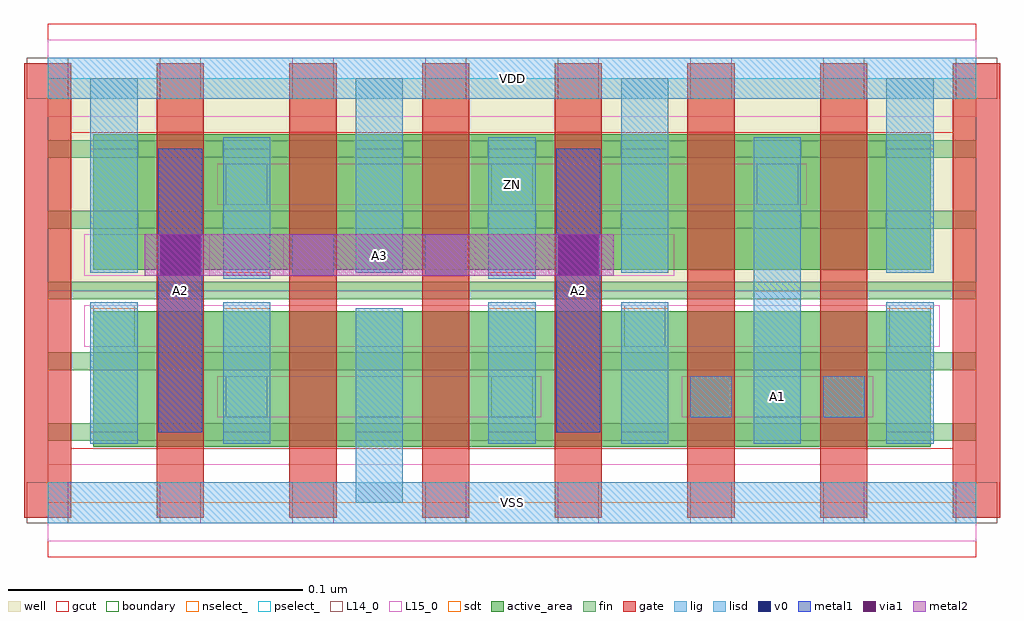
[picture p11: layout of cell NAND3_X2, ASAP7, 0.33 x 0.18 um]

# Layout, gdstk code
import gdstk
lib = gdstk.Library(unit=1e-6, precision=2.5e-10)
def R(c, l, rs):  # rectangles x0, y0, x1, y1
    for r in rs: c.add(gdstk.rectangle(r[:2], r[2:], *l))
def A(c, l, x, y, w, h, nx, ny, dx, dy):  # array of equal rectangles
    R(c, l, [(x+i*dx, y+j*dy, x+i*dx+w, y+j*dy+h) for i in range(nx) for j in range(ny)])
well = (1, 0)
fin = (2, 0)
gate = (7, 0)
gcut = (10, 0)
active_area = (11, 0)
nselect_ = (12, 0)
pselect_ = (13, 0)
L14_0 = (14, 0)
L15_0 = (15, 0)
lig = (16, 0)
lisd = (17, 0)
v0 = (18, 0)
metal1 = (19, 0)
metal2 = (20, 0)
via1 = (21, 0)
sdt = (88, 0)
boundary = (100, 0)

nand3_x2 = lib.new_cell('NAND3_X2')
R(nand3_x2, well, [(0,0.072,0.315,0.144)])
A(nand3_x2, fin, 0, 0.021, 0.315, 0.006, 1, 5, 0, 0.024)
A(nand3_x2, gate, -0.008, -0.005, 0.016, 0.154, 8, 1, 0.045, 0)
R(nand3_x2, gcut, [(0,-0.0185,0.315,0.0185), (-0.008,-0.005,0.008,0.149), (0.307,-0.005,0.323,0.149), (0,0.1255,0.315,0.1625)])
A(nand3_x2, active_area, 0.0155, 0.019, 0.059, 0.046, 6, 2, 0.045, 0.06)
R(nand3_x2, nselect_, [(0,0,0.315,0.072)])
R(nand3_x2, pselect_, [(0,0.072,0.315,0.144)])
A(nand3_x2, L14_0, -0.007, -0.007, 0.014, 0.014, 8, 2, 0.045, 0.144)
A(nand3_x2, L14_0, 0.038, 0.077, 0.014, 0.014, 4, 1, 0.045, 0)
A(nand3_x2, L14_0, 0.0605, 0.101, 0.014, 0.014, 3, 1, 0.09, 0)
R(nand3_x2, L14_0, [(0.0605,0.029,0.0745,0.043), (0.1505,0.029,0.1645,0.043), (0.218,0.029,0.232,0.043), (0.263,0.029,0.277,0.043), (0.0155,0.053,0.0295,0.067), (0.1955,0.053,0.2095,0.067), (0.2855,0.053,0.2995,0.067)])
R(nand3_x2, L15_0, [(0,-0.013,0.315,0.013), (0.0575,0.029,0.1675,0.043), (0.215,0.029,0.28,0.043), (0.0125,0.053,0.3025,0.067), (0.0125,0.077,0.055,0.091), (0.08,0.077,0.145,0.091), (0.17,0.077,0.2125,0.091), (0.0575,0.101,0.2575,0.115), (0,0.131,0.315,0.157)])
A(nand3_x2, lig, 0.038, 0.077, 0.014, 0.014, 4, 1, 0.045, 0)
R(nand3_x2, lig, [(0,-0.007,0.315,0.007), (0.218,0.029,0.232,0.043), (0.263,0.029,0.277,0.043), (0,0.137,0.315,0.151)])
R(nand3_x2, lisd, [(0.1045,0,0.1205,0.066), (0.1045,0,0.1205,0.066), (0.0145,0.02,0.0305,0.068), (0.0595,0.02,0.0755,0.068), (0.0595,0.02,0.0755,0.068), (0.1495,0.02,0.1655,0.068), (0.1495,0.02,0.1655,0.068), (0.1945,0.02,0.2105,0.068), (0.1945,0.02,0.2105,0.068), (0.2395,0.02,0.2555,0.124), (0.2395,0.02,0.2555,0.124), (0.2845,0.02,0.3005,0.068), (0.0595,0.076,0.0755,0.124), (0.0595,0.076,0.0755,0.124), (0.1495,0.076,0.1655,0.124), (0.1495,0.076,0.1655,0.124), (0.0145,0.078,0.0305,0.144), (0.1045,0.078,0.1205,0.144), (0.1045,0.078,0.1205,0.144), (0.1945,0.078,0.2105,0.144), (0.1945,0.078,0.2105,0.144), (0.2845,0.078,0.3005,0.144)])
R(nand3_x2, v0, [(0.038,0.077,0.052,0.091), (0.173,0.077,0.187,0.091)])
R(nand3_x2, metal1, [(0.0375,0.024,0.0525,0.12), (0.1725,0.024,0.1875,0.12)])
R(nand3_x2, metal2, [(0.033,0.077,0.192,0.091)])
R(nand3_x2, via1, [(0.038,0.077,0.052,0.091), (0.173,0.077,0.187,0.091)])
R(nand3_x2, sdt, [(0.2395,0.02,0.2555,0.124), (0.2395,0.02,0.2555,0.124), (0.0145,0.024,0.0305,0.066), (0.0595,0.024,0.0755,0.066), (0.0595,0.024,0.0755,0.066), (0.1045,0.024,0.1205,0.066), (0.1045,0.024,0.1205,0.066), (0.1495,0.024,0.1655,0.066), (0.1495,0.024,0.1655,0.066), (0.1945,0.024,0.2105,0.066), (0.1945,0.024,0.2105,0.066), (0.2845,0.024,0.3005,0.066), (0.0145,0.078,0.0305,0.12), (0.0595,0.078,0.0755,0.12), (0.0595,0.078,0.0755,0.12), (0.1045,0.078,0.1205,0.12), (0.1045,0.078,0.1205,0.12), (0.1495,0.078,0.1655,0.12), (0.1495,0.078,0.1655,0.12), (0.1945,0.078,0.2105,0.12), (0.1945,0.078,0.2105,0.12), (0.2845,0.078,0.3005,0.12)])
R(nand3_x2, boundary, [(0,0,0.315,0.144)])
nand3_x2.add(gdstk.Label('VDD', (0.1575,0.144), layer=1, texttype=251))
nand3_x2.add(gdstk.Label('VSS', (0.1575,0), layer=3, texttype=251))
nand3_x2.add(gdstk.Label('ZN', (0.1575,0.108), layer=15, texttype=251))
nand3_x2.add(gdstk.Label('A3', (0.1125,0.084), layer=15, texttype=251))
nand3_x2.add(gdstk.Label('A1', (0.2475,0.036), layer=15, texttype=251))
nand3_x2.add(gdstk.Label('VSS', (0.1575,0), layer=15, texttype=251))
nand3_x2.add(gdstk.Label('VDD', (0.1575,0.144), layer=15, texttype=251))
nand3_x2.add(gdstk.Label('A2', (0.045,0.072), layer=19, texttype=251))
nand3_x2.add(gdstk.Label('A2', (0.18,0.072), layer=19, texttype=251))
nand3_x2.add(gdstk.Label('A2', (0.1125,0.084), layer=20, texttype=251))

lib.write_gds('NAND3_X2.gds')
